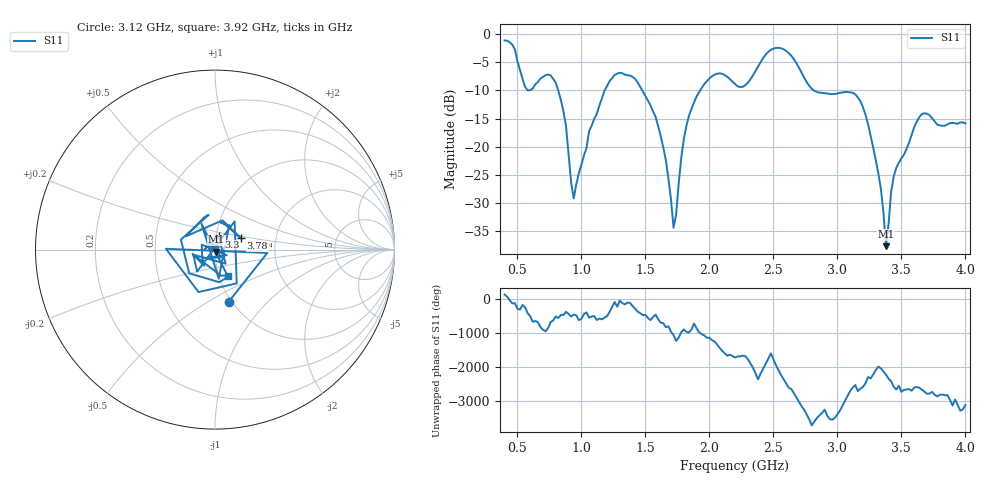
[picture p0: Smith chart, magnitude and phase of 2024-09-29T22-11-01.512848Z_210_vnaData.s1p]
!Created with skrf (http://scikit-rf.org).
# Hz S RI R 50.0
!freq ReS11 ImS11
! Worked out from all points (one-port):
!   181 points, 400 MHz to 4 GHz, reference 50 ohm
!   lowest |S11| = -37.6 dB at 3.38 GHz (marker M1), VSWR 1.03, Z = 50.7 - j1.14 ohm
!   |S11| at or under -10 dB: 818.8 MHz to 1.182 GHz (363.4 MHz wide, 36.3 % of centre); 1.475 GHz to 1.928 GHz (453.1 MHz wide, 26.6 % of centre); 2.816 GHz to end of sweep (the widest 3 of 4)
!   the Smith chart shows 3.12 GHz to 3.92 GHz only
!   S11 on the Smith chart (normalised r, x): 3.12 GHz: 0.97, -0.62; 3.3 GHz: 1.03, +0.15; 3.78 GHz: 1.32, +0.17; 3.92 GHz: 1.10, -0.33
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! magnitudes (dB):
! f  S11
! 400 MHz  -1.2
! 580 MHz  -10.0
! 760 MHz  -7.4
! 860 MHz  -13.8
! 940 MHz  -29.1
! 1.06 GHz  -17.2
! 1.3 GHz  -6.9
! 1.58 GHz  -14.7
! 1.66 GHz  -22.4
! 1.72 GHz  -34.3
! 1.76 GHz  -26.5
! 1.82 GHz  -16.3
! 1.9 GHz  -11.1
! 2.06 GHz  -7.1
! 2.2 GHz  -8.9
! 2.5 GHz  -2.6
! 2.66 GHz  -4.5
! 2.82 GHz  -10.1
! 3.1 GHz  -10.3
! 3.12 GHz  -10.4
! 3.3 GHz  -22.4
! 3.38 GHz  -37.6
! 3.44 GHz  -25.3
! 3.56 GHz  -19.3
! 3.66 GHz  -14.2
! 3.78 GHz  -16.0
! 3.92 GHz  -15.8
! 4 GHz  -15.9
